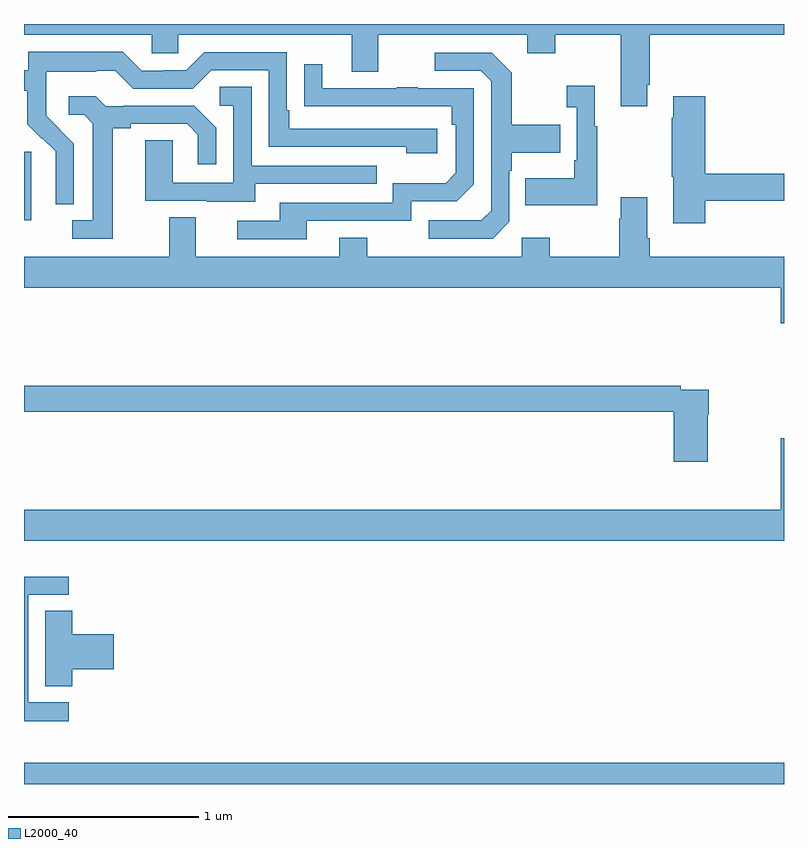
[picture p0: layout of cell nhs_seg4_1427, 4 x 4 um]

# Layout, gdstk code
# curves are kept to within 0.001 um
import gdstk
lib = gdstk.Library(unit=1e-6, precision=1e-09)
def R(c, l, rs):  # rectangles x0, y0, x1, y1
    for r in rs: c.add(gdstk.rectangle(r[:2], r[2:], *l))
def P(c, l, *ps):  # polygons
    for p in ps: c.add(gdstk.Polygon(p, *l))
L2000_40 = (2000, 40)

nhs_seg4_1427 = lib.new_cell('nhs_seg4_1427')
R(nhs_seg4_1427, L2000_40, [(185,768.9,189,769.012), (185,771.866,185.038,772.227)])
P(nhs_seg4_1427, L2000_40, [(188.281,772.579),(188.294,772.579),(188.294,772.844),(189,772.844),(189,772.9),(185,772.9),(185,772.844),(185.673,772.844),(185.673,772.746),(185.811,772.746),(185.811,772.844),(186.725,772.844),(186.725,772.65),(186.865,772.65),(186.865,772.844),(187.649,772.844),(187.649,772.745),(187.797,772.745),(187.797,772.844),(188.141,772.844),(188.141,772.467),(188.281,772.467)],
  [(185.262,772.27),(185.116,772.418),(185.116,772.515),(185.118,772.515),(185.118,772.649),(185.381,772.649),(185.381,772.653),(185.481,772.653),(185.574,772.56),(185.889,772.56),(185.985,772.656),(186.288,772.656),(186.288,772.254),(187.013,772.254),(187.013,772.22),(187.174,772.22),(187.174,772.35),(186.397,772.35),(186.397,772.447),(186.384,772.447),(186.384,772.752),(185.949,772.752),(185.853,772.656),(185.735,772.656),(185.735,772.653),(185.619,772.653),(185.519,772.753),(185.022,772.753),(185.022,772.656),(185,772.656),(185,772.548),(185.017,772.548),(185.017,772.373),(185.094,772.296),(185.097,772.299),(185.168,772.229),(185.168,772.106),(185.166,772.106),(185.166,771.952),(185.262,771.952)],
  [(187.554,771.858),(187.554,772.127),(187.567,772.127),(187.567,772.223),(187.823,772.223),(187.823,772.371),(187.567,772.371),(187.567,772.643),(187.461,772.749),(187.161,772.749),(187.161,772.653),(187.404,772.653),(187.458,772.599),(187.458,771.918),(187.407,771.867),(187.131,771.867),(187.131,771.771),(187.467,771.771)],
  [(186.487,771.864),(187.038,771.864),(187.038,771.966),(187.278,771.966),(187.368,772.056),(187.368,772.563),(187.073,772.563),(187.073,772.568),(186.961,772.568),(186.961,772.563),(186.571,772.563),(186.571,772.687),(186.475,772.687),(186.475,772.468),(187.252,772.467),(187.252,772.37),(187.272,772.37),(187.272,772.116),(187.219,772.063),(186.942,772.063),(186.942,771.96),(186.347,771.96),(186.347,771.864),(186.123,771.864),(186.123,771.768),(186.487,771.768)],
  [(188.017,772.363),(188.005,772.363),(188.005,772.576),(187.857,772.576),(187.857,772.463),(187.908,772.463),(187.908,772.183),(187.896,772.183),(187.896,772.087),(187.639,772.087),(187.639,771.947),(188.017,771.947)],
  [(186.217,772.059),(186.857,772.059),(186.857,772.155),(186.198,772.155),(186.198,772.571),(186.03,772.571),(186.03,772.47),(186.102,772.47),(186.102,772.065),(185.784,772.065),(185.784,772.289),(185.639,772.289),(185.639,771.969),(185.963,771.969),(185.963,771.965),(186.217,771.965)],
  [(188.585,771.97),(189,771.97),(189,772.112),(188.585,772.112),(188.585,772.519),(188.417,772.519),(188.417,772.406),(188.41,772.406),(188.41,772.095),(188.417,772.095),(188.417,771.852),(188.585,771.852)],
  [(185.467,772.352),(185.563,772.352),(185.563,772.374),(185.858,772.374),(185.915,772.317),(185.915,772.161),(186.012,772.161),(186.012,772.354),(185.896,772.47),(185.524,772.47),(185.524,772.467),(185.43,772.467),(185.378,772.519),(185.235,772.519),(185.235,772.422),(185.316,772.422),(185.363,772.375),(185.363,771.867),(185.253,771.867),(185.253,771.771),(185.467,771.771)],
  [(189,771.676),(188.294,771.676),(188.294,771.772),(188.281,771.772),(188.281,771.988),(188.141,771.988),(188.141,771.875),(188.134,771.875),(188.134,771.676),(187.767,771.676),(187.767,771.775),(187.62,771.775),(187.62,771.676),(186.807,771.676),(186.807,771.775),(186.659,771.775),(186.659,771.676),(185.905,771.676),(185.905,771.884),(185.765,771.884),(185.765,771.676),(185,771.676),(185,771.512),(188.984,771.512),(188.984,771.324),(189,771.324)],
  [(188.598,770.843),(188.603,770.843),(188.603,770.976),(188.456,770.976),(188.456,770.996),(185,770.996),(185,770.86),(188.42,770.86),(188.42,770.595),(188.598,770.595)],
  [(189,770.719),(188.984,770.719),(188.984,770.344),(185,770.344),(185,770.18),(189,770.18)],
  [(185.236,769.329),(185.022,769.329),(185.022,769.896),(185.236,769.896),(185.236,769.992),(185,769.992),(185,769.231),(185.236,769.231)],
  [(185.255,769.505),(185.473,769.505),(185.473,769.688),(185.255,769.688),(185.255,769.811),(185.111,769.811),(185.111,769.414),(185.255,769.414)])

lib.write_gds('nhs_seg4_1427.gds')
